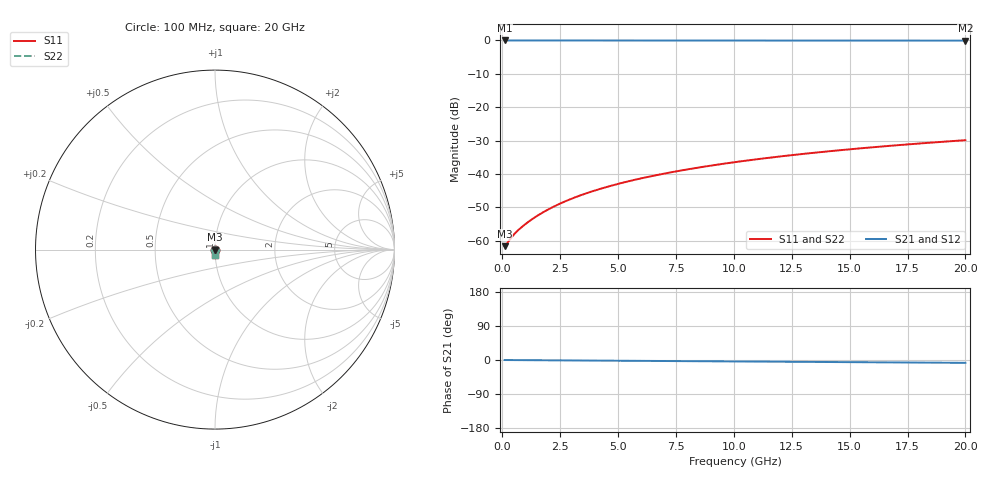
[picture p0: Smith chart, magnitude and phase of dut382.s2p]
! Touchstone file exported from HFSS 2026.1.0
!  File:  C:/ffzhzh/LocalFiles/Ansys_Project_Files/temp_train_TMRDL_382_1783004583_55676.aedt
!  Generated:  11:04:16 PM Jul  2, 2026
!  Design:  TMRDL
!  Project:  temp_train_TMRDL_382_1783004583_55676
! Variables:
!  h_bsmrdl = 2um
!  h_ox = 20um
!  h_rdl = 5um
!  h_sub = 80um
!  h_tmrdl = 3.24um
!  h_tsv = 80um
!  h_via = 3um
!  l_bsmrdl = 300um
!  l_sub = 520.21um
!  l_tmrdl = 120.21um
!  m_sub = 200um
!  pitch = 26.2um
!  r_tsv = 6um
!  s_tmrdl = 10um
!  w_bsmrdl = 18um
!  w_sub = 500um
!  w_tmrdl = 24.31um
!  x_tsv_center1 = 132.365um
!  x_tsv_center2 = 450.365um
!  x_tsv_center3 = 594.885um
!  x_tsv_center4 = 912.885um
!  x_tsv_center5 = 1057.405um
!  x_tsv_center6 = 1375.405um
# GHz S MA R 50.000000
! Terminal data exported
! Port[1] = TM_RDL1_1_T1
! Port[2] = TM_RDL1_1_T2
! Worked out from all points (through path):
!   200 points, 100 MHz to 20 GHz, reference 50 ohm
!   highest |S21| = -0.01 dB at 100 MHz (marker M1); lowest = -0.1 dB at 20 GHz (marker M2)
!   group delay of S21, straight-line fit = 1.04 ps
!   lowest |S11| = -61.7 dB at 100 MHz (marker M3), VSWR 1.00, Z = 50.1 + j0.00297 ohm
!   |S11| at or under -10 dB: start of sweep to end of sweep
!   |S22| runs from -61.7 to -29.9 dB; largest |S21 - S12| = 1e-14
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0.1  0.0008262 2.1  0.9992 -0.0  0.9992 -0.0  0.0008262 2.1
! Gamma 0 0 0 0
! Port Impedance 50 0 50 0
0.2  0.0009066 1.8  0.9991 -0.1  0.9991 -0.1  0.0009066 1.8
0.4  0.001123 -5.2  0.9989 -0.2  0.9989 -0.2  0.001123 -5.2
0.5  0.001233 -10.1  0.9988 -0.2  0.9988 -0.2  0.001233 -10.1
0.7  0.001449 -19.9  0.9986 -0.3  0.9986 -0.3  0.001449 -19.9
1  0.001773 -32.1  0.9985 -0.4  0.9985 -0.4  0.001773 -32.2
1.4  0.002226 -43.8  0.9984 -0.6  0.9984 -0.6  0.002226 -43.8
1.9  0.00283 -53.1  0.9983 -0.8  0.9983 -0.8  0.002829 -53.1
2.4  0.003465 -59.2  0.9982 -1.0  0.9982 -1.0  0.003465 -59.2
2.9  0.004125 -63.4  0.9981 -1.1  0.9981 -1.1  0.004125 -63.4
3.5  0.004943 -66.9  0.9979 -1.4  0.9979 -1.4  0.004943 -66.9
4.2  0.005926 -69.7  0.9978 -1.6  0.9978 -1.6  0.005926 -69.8
5  0.007085 -72.1  0.9976 -1.9  0.9976 -1.9  0.007085 -72.1
5.9  0.008427 -74.0  0.9973 -2.3  0.9973 -2.3  0.008427 -74.0
6.8  0.009804 -75.5  0.9971 -2.6  0.9971 -2.6  0.009804 -75.5
8.4  0.01233 -77.6  0.9966 -3.2  0.9966 -3.2  0.01233 -77.6
10.1  0.0151 -79.4  0.9961 -3.9  0.9961 -3.9  0.01509 -79.4
11.7  0.01776 -80.8  0.9957 -4.5  0.9957 -4.5  0.01776 -80.8
13.4  0.02063 -82.2  0.9952 -5.1  0.9952 -5.1  0.02063 -82.2
15  0.02337 -83.4  0.9948 -5.7  0.9948 -5.7  0.02336 -83.5
16.7  0.02629 -84.7  0.9943 -6.3  0.9943 -6.3  0.02629 -84.7
20  0.032 -86.8  0.9936 -7.5  0.9936 -7.5  0.032 -86.9
